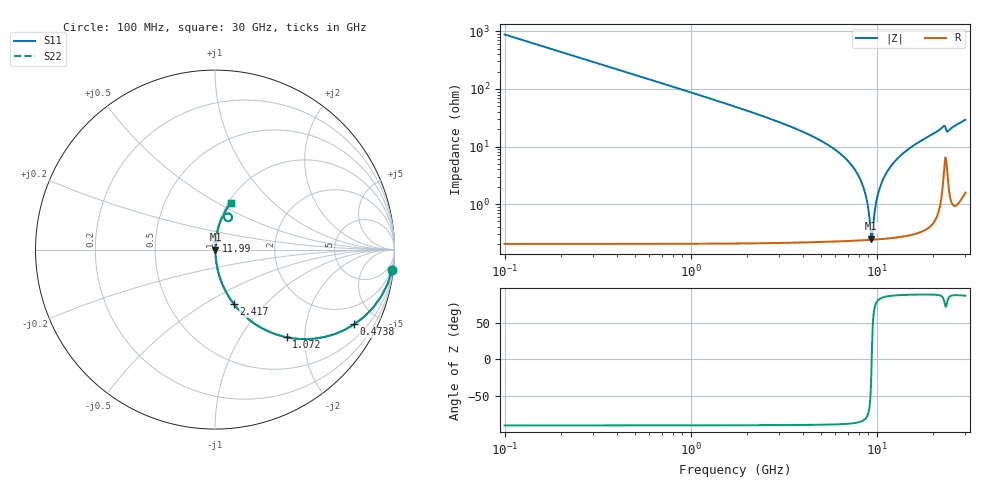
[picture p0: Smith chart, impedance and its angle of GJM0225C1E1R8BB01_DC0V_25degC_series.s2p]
!Murata Part Number: GJM0225C1E1R8BB01
!These Parameters are Measured in Series Mode Connection
!  o--ll--o
!Port1  Port2
!  o------o
!Operation Temp=25[degC], DC Bias Voltage=0[V]
!Freq. Start=100[MHz] Stop=30[GHz], 401[Steps]
!Data Generated on Feb 1, 2023
# Hz S RI R 50
!Freq.(Hz) S11(Real) S11(Imag) S21(Real) S21(Imag) S12(Real) S12(Imag) S22(Real) S22(Imag)
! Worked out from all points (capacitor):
!   401 points, 100 MHz to 30 GHz, reference 50 ohm
!   read as one part in series: C = 1.8 pF near 249.5 MHz
!   lowest |Z| = 251 mohm at 9.369 GHz (marker M1)
!   series resonance near 9.406 GHz, so ESL is about 160 pH
!   S11 on the Smith chart (normalised r, x): 100 MHz: 1, -18; 473.8 MHz: 1.00, -3.72; 1.072 GHz: 1.00, -1.63; 2.417 GHz: 1.00, -0.68; 11.99 GHz: 1.01, +0.09; 30 GHz: 1.03, +0.58
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1e8  0.9873 -0.1117  0.0127 0.1117  0.0127 0.1117  0.9873 -0.1117
4.7375e8  0.7758 -0.4165  0.2242 0.4165  0.2242 0.4165  0.7758 -0.4165
7.7275e8  0.5635 -0.4951  0.4365 0.4951  0.4365 0.4951  0.5635 -0.4951
1.07175e9  0.399 -0.4884  0.601 0.4884  0.601 0.4884  0.399 -0.4884
1.66975e9  0.2092 -0.4047  0.7908 0.4047  0.7908 0.4047  0.2092 -0.4047
2.41725e9  0.106 -0.3048  0.894 0.3048  0.894 0.3048  0.106 -0.3048
5.10825e9  0.0168 -0.1199  0.9832 0.1199  0.9832 0.1199  0.0168 -0.1199
6.977e9  0.00551 -0.0567  0.9945 0.0567  0.9945 0.0567  0.00551 -0.0567
8.173e9  0.00304 -0.0265  0.997 0.0265  0.997 0.0265  0.00304 -0.0265
8.84575e9  0.0025 -0.0116  0.9975 0.0116  0.9975 0.0116  0.0025 -0.0116
9.369e9  0.00239 -0.00074  0.9976 0.00074  0.9976 0.00074  0.00239 -0.00074
9.5185e9  0.00241 0.00224  0.9976 -0.00224  0.9976 -0.00224  0.00241 0.00224
9.8175e9  0.00248 0.00807  0.9975 -0.00807  0.9975 -0.00807  0.00248 0.00807
1.01165e10  0.00262 0.0137  0.9974 -0.0137  0.9974 -0.0137  0.00262 0.0137
1.0864e10  0.00323 0.0273  0.9968 -0.0273  0.9968 -0.0273  0.00323 0.0273
1.198525e10  0.0047 0.0462  0.9953 -0.0462  0.9953 -0.0462  0.0047 0.0462
1.505e10  0.0115 0.0921  0.9885 -0.0921  0.9885 -0.0921  0.0115 0.0921
2.005825e10  0.0308 0.1597  0.9692 -0.1597  0.9692 -0.1597  0.0308 0.1597
2.29735e10  0.077 0.2009  0.923 -0.2009  0.923 -0.2009  0.077 0.2009
2.38705e10  0.0672 0.1592  0.9328 -0.1592  0.9328 -0.1592  0.0672 0.1592
2.50665e10  0.0505 0.1927  0.9495 -0.1927  0.9495 -0.1927  0.0505 0.1927
3e10  0.0905 0.261  0.9095 -0.261  0.9095 -0.261  0.0905 0.261
